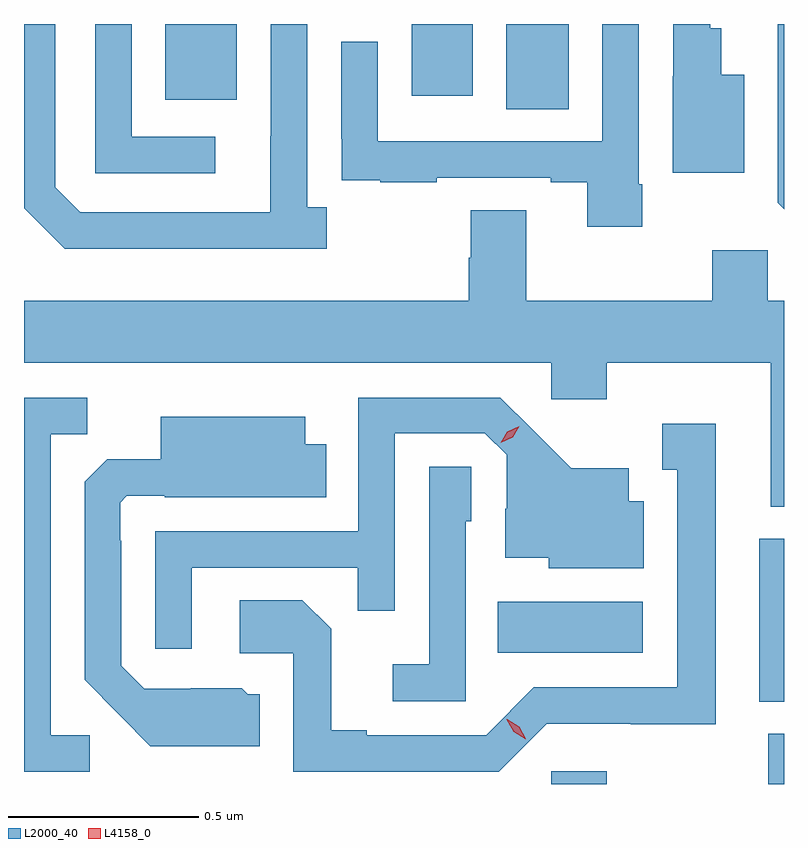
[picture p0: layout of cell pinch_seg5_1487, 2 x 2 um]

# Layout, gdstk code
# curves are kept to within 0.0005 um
import gdstk
lib = gdstk.Library(unit=1e-6, precision=1e-09)
def R(c, l, rs):  # rectangles x0, y0, x1, y1
    for r in rs: c.add(gdstk.rectangle(r[:2], r[2:], *l))
def P(c, l, *ps):  # polygons
    for p in ps: c.add(gdstk.Polygon(p, *l))
L2000_40 = (2000, 40)
L4158_0 = (4158, 0)

pinch_seg5_1487 = lib.new_cell('pinch_seg5_1487')
R(pinch_seg5_1487, L2000_40, [(132.624,891.616,132.771,891.649), (133.195,891.616,133.237,891.748), (133.172,891.833,133.237,892.261), (132.484,891.962,132.865,892.096), (132.506,893.392,132.67,893.616), (131.609,893.417,131.797,893.616), (132.257,893.427,132.418,893.616)])
P(pinch_seg5_1487, L2000_40, [(131.74,893.319),(131.52,893.319),(131.52,893.616),(131.424,893.616),(131.424,893.223),(131.74,893.223)],
  [(133.237,893.616),(133.221,893.616),(133.221,893.145),(133.237,893.129)],
  [(132.034,893.134),(131.982,893.134),(131.982,893.616),(131.886,893.616),(131.886,893.321),(131.885,893.321),(131.885,893.121),(131.385,893.121),(131.319,893.187),(131.319,893.616),(131.237,893.616),(131.237,893.131),(131.344,893.024),(132.034,893.024)],
  [(133.132,893.482),(133.072,893.482),(133.072,893.605),(133.043,893.605),(133.043,893.616),(132.945,893.616),(132.945,893.478),(132.944,893.478),(132.944,893.225),(133.132,893.225)],
  [(132.864,893.194),(132.855,893.194),(132.855,893.616),(132.759,893.616),(132.759,893.307),(132.168,893.307),(132.168,893.569),(132.072,893.569),(132.072,893.314),(132.073,893.314),(132.073,893.205),(132.175,893.205),(132.175,893.199),(132.323,893.199),(132.323,893.211),(132.623,893.211),(132.623,893.199),(132.719,893.199),(132.719,893.082),(132.864,893.082)],
  [(133.237,892.888),(133.194,892.888),(133.194,893.02),(133.048,893.02),(133.048,892.888),(132.559,892.888),(132.559,893.126),(132.412,893.126),(132.412,893.001),(132.407,893.001),(132.407,892.888),(131.237,892.888),(131.237,892.724),(132.624,892.724),(132.624,892.629),(132.771,892.629),(132.771,892.724),(133.202,892.724),(133.202,892.346),(133.237,892.346)],
  [(131.679,892.185),(132.115,892.185),(132.115,892.072),(132.213,892.072),(132.213,892.539),(132.45,892.539),(132.507,892.482),(132.507,892.34),(132.503,892.34),(132.503,892.211),(132.618,892.211),(132.618,892.184),(132.868,892.184),(132.868,892.36),(132.829,892.36),(132.829,892.447),(132.677,892.447),(132.49,892.632),(132.117,892.632),(132.117,892.281),(131.583,892.281),(131.583,891.972),(131.679,891.972)],
  [(131.41,891.744),(131.307,891.744),(131.307,892.537),(131.403,892.537),(131.403,892.632),(131.237,892.632),(131.237,891.648),(131.41,891.648)],
  [(131.857,891.852),(131.826,891.852),(131.81,891.868),(131.676,891.868),(131.676,891.867),(131.553,891.867),(131.493,891.927),(131.493,892.256),(131.49,892.256),(131.49,892.356),(131.508,892.374),(131.608,892.374),(131.608,892.37),(132.032,892.37),(132.032,892.51),(131.977,892.51),(131.977,892.582),(131.597,892.582),(131.597,892.471),(131.456,892.471),(131.397,892.412),(131.397,891.89),(131.569,891.716),(131.857,891.716)],
  [(132.612,891.774),(132.834,891.774),(132.834,891.773),(133.057,891.773),(133.057,892.564),(132.917,892.564),(132.917,892.443),(132.956,892.443),(132.956,891.87),(132.579,891.87),(132.453,891.744),(132.139,891.744),(132.139,891.757),(132.045,891.757),(132.045,892.024),(131.969,892.1),(131.805,892.1),(131.805,891.96),(131.946,891.96),(131.946,891.648),(132.486,891.648)],
  [(132.399,892.308),(132.414,892.308),(132.414,892.451),(132.303,892.451),(132.303,891.931),(132.207,891.931),(132.207,891.834),(132.399,891.834)])
P(pinch_seg5_1487, L4158_0, [(132.492,892.514),(132.492,892.514),(132.509,892.543),(132.54,892.558),(132.54,892.558),(132.54,892.558),(132.523,892.529),(132.492,892.514)],
  [(132.558,891.734),(132.526,891.753),(132.508,891.785),(132.508,891.786),(132.509,891.786),(132.54,891.767),(132.558,891.735),(132.558,891.734)])

lib.write_gds('pinch_seg5_1487.gds')
